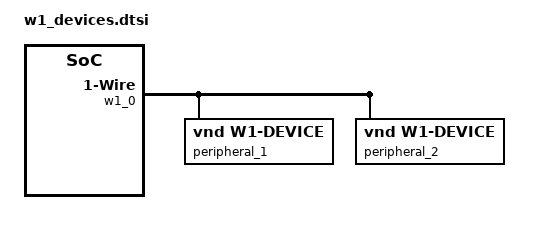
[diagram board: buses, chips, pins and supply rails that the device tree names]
/*
 * Copyright (c) 2022 Thomas Stranger
 *
 * SPDX-License-Identifier: Apache-2.0
 */

&w1_0 {
	peripheral_1: dummy-peripheral-1 {
		compatible = "vnd,w1-device";
		family-code = <0x28>;
		overdrive-speed;
		status = "okay";
	};

	peripheral_2: dummy-peripheral-2 {
		compatible = "vnd,w1-device";
		family-code = <0x29>;
		status = "okay";
	};
};
